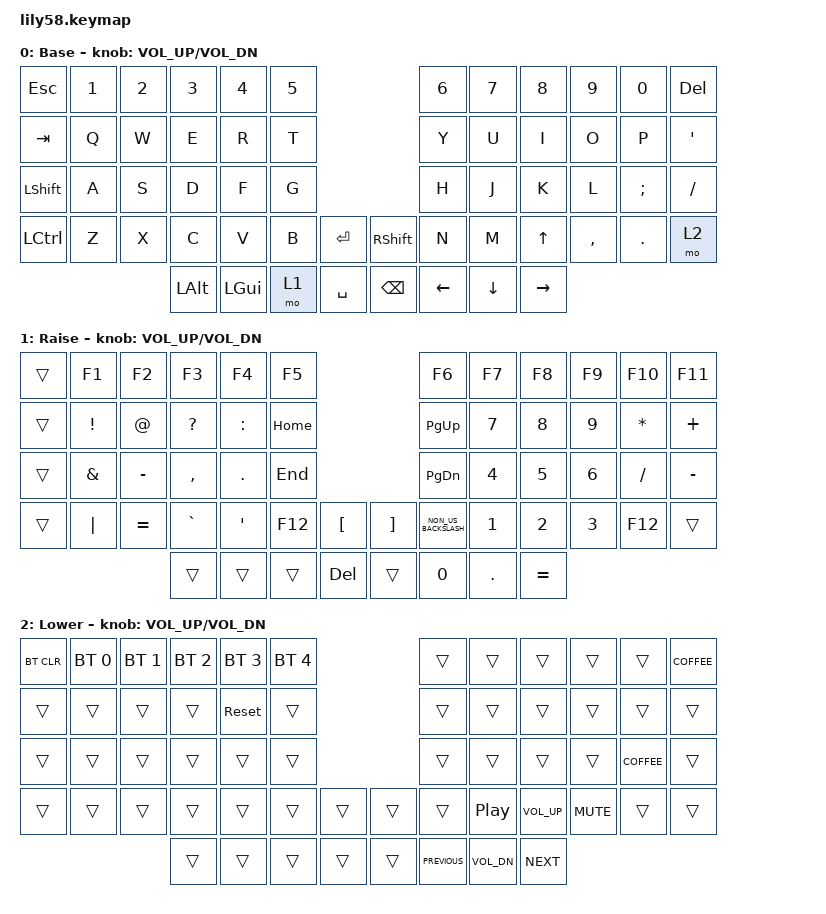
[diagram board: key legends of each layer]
/*
 * Copyright (c) 2020 The ZMK Contributors
 *
 * SPDX-License-Identifier: MIT
 */

#include <behaviors.dtsi>
#include <dt-bindings/zmk/bt.h>
#include <dt-bindings/zmk/keys.h>

/ {
    keymap {
        compatible = "zmk,keymap";

        default_layer {
            // ------------------------------------------------------------------------------------------------------------
            // |  ESC  |  1  |  2  |  3   |  4   |  5   |                   |  6   |  7    |  8    |  9   |   0   |   `   |
            // |  TAB  |  Q  |  W  |  E   |  R   |  T   |                   |  Y   |  U    |  I    |  O   |   P   |   -   |
            // |  CTRL |  A  |  S  |  D   |  F   |  G   |                   |  H   |  J    |  K    |  L   |   ;   |   '   |
            // | SHIFT |  Z  |  X  |  C   |  V   |  B   |   "["  |  |  "]"  |  N   |  M    |  ,    |  .   |   /   | SHIFT |
            //                     | ALT  | GUI  | LOWER|  SPACE |  | ENTER | RAISE| BSPC  | GUI   |

            display-name = "Base";
            bindings = <
&kp ESC         &kp N1  &kp N2  &kp N3    &kp N4    &kp N5                                &kp N6          &kp N7    &kp N8        &kp N9     &kp N0      &kp DEL
&kp TAB         &kp Q   &kp W   &kp E     &kp R     &kp T                                 &kp Y           &kp U     &kp I         &kp O      &kp P       &kp SQT
&kp LEFT_SHIFT  &kp A   &kp S   &kp D     &kp F     &kp G                                 &kp H           &kp J     &kp K         &kp L      &kp SEMI    &kp SLASH
&kp LCTRL       &kp Z   &kp X   &kp C     &kp V     &kp B   &kp ENTER    &kp RIGHT_SHIFT  &kp N           &kp M     &kp UP_ARROW  &kp COMMA  &kp PERIOD  &mo 2
                                &kp LALT  &kp LGUI  &mo 1   &kp SPACE    &kp BACKSPACE    &kp LEFT_ARROW  &kp DOWN  &kp RIGHT
            >;

            sensor-bindings = <&inc_dec_kp C_VOL_UP C_VOL_DN>;
        };

        Symbols {
            // ------------------------------------------------------------------------------------------------------------
            // |       |     |     |      |      |      |                   |      |       |       |      |       |       |
            // |   `   |  1  |  2  |  3   |  4   |  5   |                   |  6   |   7   |   8   |  9   |   0   |       |
            // |   F1  |  F2 |  F3 |  F4  |  F5  |  F6  |                   |      |   <-  |   v   |  ^   |  ->   |       |
            // |   F7  |  F8 |  F9 |  F10 |  F11 |  F12 |        |  |       |  +   |   -   |   =   |  [   |   ]   |   \   |
            //                     |      |      |      |        |  |       |      |       |       |

            display-name = "Raise";
            bindings = <
&trans  &kp F1           &kp F2       &kp F3        &kp F4      &kp F5                                           &kp F6                &kp F7        &kp F8        &kp F9        &kp F10       &kp F11
&trans  &kp EXCLAMATION  &kp AT_SIGN  &kp QUESTION  &kp COLON   &kp HOME                                         &kp PG_UP             &kp N7        &kp N8        &kp N9        &kp ASTERISK  &kp PLUS
&trans  &kp AMPERSAND    &kp MINUS    &kp COMMA     &kp PERIOD  &kp END                                          &kp PG_DN             &kp NUMBER_4  &kp N5        &kp NUMBER_6  &kp SLASH     &kp MINUS
&trans  &kp PIPE         &kp EQUAL    &kp GRAVE     &kp SQT     &kp F12   &kp LEFT_BRACKET    &kp RIGHT_BRACKET  &kp NON_US_BACKSLASH  &kp NUMBER_1  &kp NUMBER_2  &kp NUMBER_3  &kp F12       &trans
                                      &trans        &trans      &trans    &kp DEL             &trans             &kp N0                &kp PERIOD    &kp EQUAL
            >;

            sensor-bindings = <&inc_dec_kp C_VOL_UP C_VOL_DN>;
        };

        Media {
            // ------------------------------------------------------------------------------------------------------------
            // | BTCLR | BT1 | BT2 |  BT3 |  BT4 |  BT5 |                   |      |       |       |      |       |       |
            // |  F1   |  F2 |  F3 |  F4  |  F5  |  F6  |                   |  F7  |  F8   |  F9   |  F10 |  F11  |  F12  |
            // |   `   |  !  |  @  |  #   |  $   |  %   |                   |  ^   |  &    |  *    |  (   |   )   |   ~   |
            // |       |     |     |      |      |      |        |  |       |      |  _    |  +    |  {   |   }   |  "|"  |
            //                     |      |      |      |        |  |       |      |       |       |

            display-name = "Lower";
            bindings = <
&bt BT_CLR  &bt BT_SEL 0  &bt BT_SEL 1  &bt BT_SEL 2  &bt BT_SEL 3  &bt BT_SEL 4                    &trans          &trans            &trans           &trans      &trans        &kp K_COFFEE
&trans      &trans        &trans        &trans        &sys_reset    &trans                          &trans          &trans            &trans           &trans      &trans        &trans
&trans      &trans        &trans        &trans        &trans        &trans                          &trans          &trans            &trans           &trans      &kp K_COFFEE  &trans
&trans      &trans        &trans        &trans        &trans        &trans        &trans    &trans  &trans          &kp C_PLAY_PAUSE  &kp C_VOLUME_UP  &kp K_MUTE  &trans        &trans
                                        &trans        &trans        &trans        &trans    &trans  &kp C_PREVIOUS  &kp C_VOL_DN      &kp C_NEXT
            >;

            sensor-bindings = <&inc_dec_kp C_VOL_UP C_VOL_DN>;
        };
    };
};
